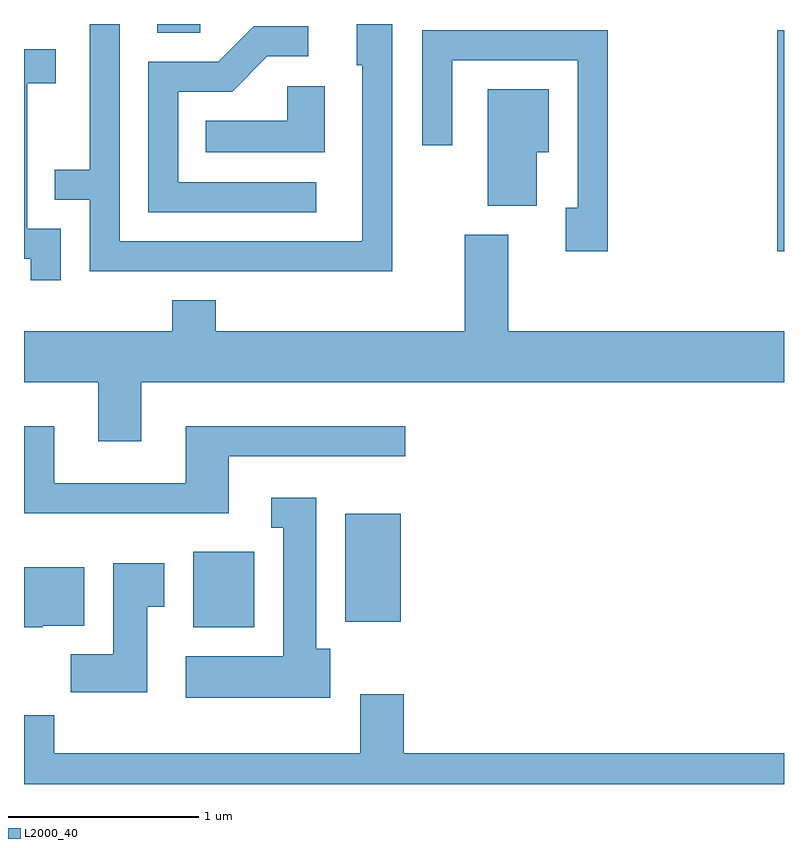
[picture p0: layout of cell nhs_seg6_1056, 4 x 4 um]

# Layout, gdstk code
import gdstk
lib = gdstk.Library(unit=1e-6, precision=1e-09)
def R(c, l, rs):  # rectangles x0, y0, x1, y1
    for r in rs: c.add(gdstk.rectangle(r[:2], r[2:], *l))
def P(c, l, *ps):  # polygons
    for p in ps: c.add(gdstk.Polygon(p, *l))
L2000_40 = (2000, 40)

nhs_seg6_1056 = lib.new_cell('nhs_seg6_1056')
R(nhs_seg6_1056, L2000_40, [(218.501,1530.986,218.824,1531.384), (219.301,1531.016,219.594,1531.584), (221.576,1532.966,221.611,1534.129), (218.311,1534.116,218.539,1534.162)])
P(nhs_seg6_1056, L2000_40, [(219.549,1534.162),(219.361,1534.162),(219.361,1533.946),(219.391,1533.946),(219.391,1533.019),(218.114,1533.019),(218.114,1534.162),(217.956,1534.162),(217.956,1533.394),(217.773,1533.394),(217.773,1533.236),(217.956,1533.236),(217.956,1532.861),(219.549,1532.861)],
  [(219.148,1533.329),(218.424,1533.329),(218.424,1533.806),(218.707,1533.806),(218.892,1533.991),(219.108,1533.991),(219.108,1534.149),(218.819,1534.149),(218.634,1533.964),(218.266,1533.964),(218.266,1533.171),(219.148,1533.171)],
  [(220.684,1534.129),(219.706,1534.129),(219.706,1533.523),(219.864,1533.523),(219.864,1533.971),(220.526,1533.971),(220.526,1533.194),(220.461,1533.194),(220.461,1532.966),(220.684,1532.966)],
  [(217.804,1533.084),(217.629,1533.084),(217.629,1533.851),(217.779,1533.851),(217.779,1534.029),(217.611,1534.029),(217.611,1532.926),(217.646,1532.926),(217.646,1532.813),(217.804,1532.813)],
  [(219.194,1533.834),(218.996,1533.834),(218.996,1533.654),(218.568,1533.654),(218.568,1533.486),(219.194,1533.486)],
  [(220.309,1533.486),(220.374,1533.486),(220.374,1533.819),(220.051,1533.819),(220.051,1533.206),(220.309,1533.206)],
  [(218.229,1532.276),(221.611,1532.276),(221.611,1532.544),(220.159,1532.544),(220.159,1533.054),(219.931,1533.054),(219.931,1532.544),(218.619,1532.544),(218.619,1532.709),(218.391,1532.709),(218.391,1532.544),(217.611,1532.544),(217.611,1532.276),(218.001,1532.276),(218.001,1531.966),(218.229,1531.966)],
  [(218.689,1531.886),(219.618,1531.886),(219.618,1532.044),(218.461,1532.044),(218.461,1531.744),(217.769,1531.744),(217.769,1532.044),(217.611,1532.044),(217.611,1531.586),(218.689,1531.586)],
  [(219.224,1530.874),(219.149,1530.874),(219.149,1531.669),(218.913,1531.669),(218.913,1531.511),(218.976,1531.511),(218.976,1530.834),(218.461,1530.834),(218.461,1530.616),(219.224,1530.616)],
  [(218.259,1531.096),(218.349,1531.096),(218.349,1531.324),(218.081,1531.324),(218.081,1530.844),(217.856,1530.844),(217.856,1530.646),(218.259,1530.646)],
  [(217.71,1530.996),(217.929,1530.996),(217.929,1531.304),(217.611,1531.304),(217.611,1530.986),(217.71,1530.986)],
  [(221.611,1530.324),(219.609,1530.324),(219.609,1530.634),(219.381,1530.634),(219.381,1530.324),(217.769,1530.324),(217.769,1530.524),(217.611,1530.524),(217.611,1530.162),(221.611,1530.162)])

lib.write_gds('nhs_seg6_1056.gds')
